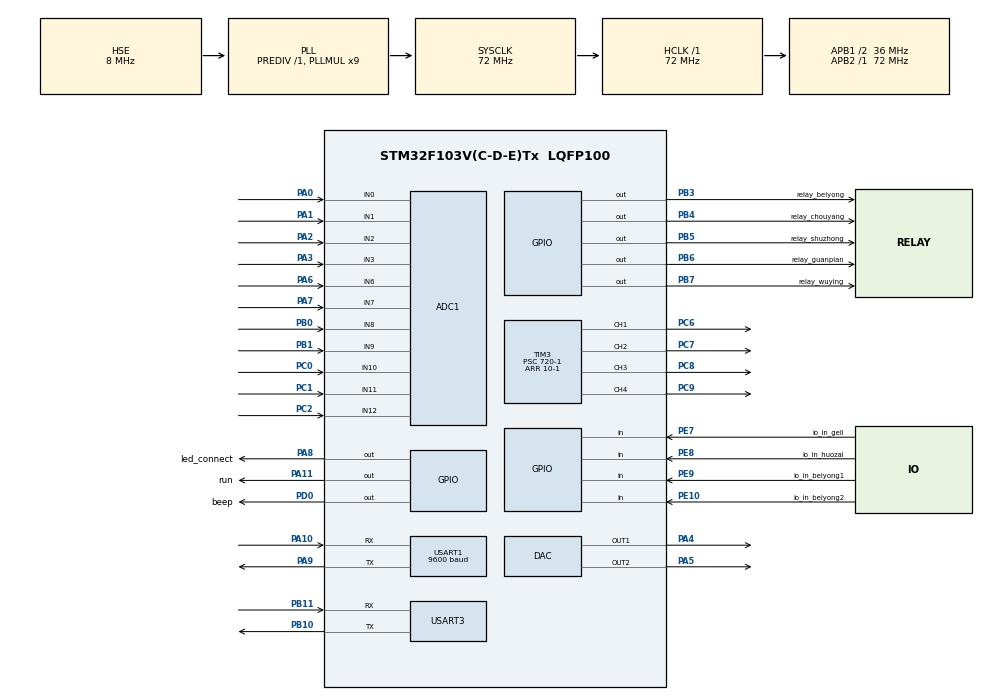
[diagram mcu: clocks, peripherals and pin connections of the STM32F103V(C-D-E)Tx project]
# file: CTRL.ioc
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ADC1.Channel-0\#ChannelRegularConversion=ADC_CHANNEL_0
ADC1.Channel-1\#ChannelRegularConversion=ADC_CHANNEL_1
ADC1.Channel-10\#ChannelRegularConversion=ADC_CHANNEL_12
ADC1.Channel-2\#ChannelRegularConversion=ADC_CHANNEL_2
ADC1.Channel-3\#ChannelRegularConversion=ADC_CHANNEL_3
ADC1.Channel-4\#ChannelRegularConversion=ADC_CHANNEL_6
ADC1.Channel-5\#ChannelRegularConversion=ADC_CHANNEL_7
ADC1.Channel-6\#ChannelRegularConversion=ADC_CHANNEL_8
ADC1.Channel-7\#ChannelRegularConversion=ADC_CHANNEL_9
ADC1.Channel-8\#ChannelRegularConversion=ADC_CHANNEL_10
ADC1.Channel-9\#ChannelRegularConversion=ADC_CHANNEL_11
ADC1.ContinuousConvMode=ENABLE
ADC1.NbrOfConversion=11
ADC1.NbrOfConversionFlag=1
ADC1.Rank-0\#ChannelRegularConversion=1
ADC1.Rank-1\#ChannelRegularConversion=2
ADC1.Rank-10\#ChannelRegularConversion=11
ADC1.Rank-2\#ChannelRegularConversion=3
ADC1.Rank-3\#ChannelRegularConversion=4
ADC1.Rank-4\#ChannelRegularConversion=5
ADC1.Rank-5\#ChannelRegularConversion=6
ADC1.Rank-6\#ChannelRegularConversion=7
ADC1.Rank-7\#ChannelRegularConversion=8
ADC1.Rank-8\#ChannelRegularConversion=9
ADC1.Rank-9\#ChannelRegularConversion=10
ADC1.SamplingTime-0\#ChannelRegularConversion=ADC_SAMPLETIME_55CYCLES_5
ADC1.SamplingTime-1\#ChannelRegularConversion=ADC_SAMPLETIME_55CYCLES_5
ADC1.SamplingTime-10\#ChannelRegularConversion=ADC_SAMPLETIME_55CYCLES_5
ADC1.SamplingTime-2\#ChannelRegularConversion=ADC_SAMPLETIME_55CYCLES_5
ADC1.SamplingTime-3\#ChannelRegularConversion=ADC_SAMPLETIME_55CYCLES_5
ADC1.SamplingTime-4\#ChannelRegularConversion=ADC_SAMPLETIME_55CYCLES_5
ADC1.SamplingTime-5\#ChannelRegularConversion=ADC_SAMPLETIME_55CYCLES_5
ADC1.SamplingTime-6\#ChannelRegularConversion=ADC_SAMPLETIME_55CYCLES_5
ADC1.SamplingTime-7\#ChannelRegularConversion=ADC_SAMPLETIME_55CYCLES_5
ADC1.SamplingTime-8\#ChannelRegularConversion=ADC_SAMPLETIME_55CYCLES_5
ADC1.SamplingTime-9\#ChannelRegularConversion=ADC_SAMPLETIME_55CYCLES_5
ADC1.master=1
DAC.DAC_OutputBuffer=DAC_OUTPUTBUFFER_DISABLE
Dma.ADC1.0.Direction=DMA_PERIPH_TO_MEMORY
Dma.ADC1.0.Instance=DMA1_Channel1
Dma.ADC1.0.MemDataAlignment=DMA_MDATAALIGN_HALFWORD
Dma.ADC1.0.MemInc=DMA_MINC_ENABLE
Dma.ADC1.0.Mode=DMA_CIRCULAR
Dma.ADC1.0.PeriphDataAlignment=DMA_PDATAALIGN_HALFWORD
Dma.ADC1.0.PeriphInc=DMA_PINC_DISABLE
Dma.ADC1.0.Priority=DMA_PRIORITY_LOW
Dma.Request0=ADC1
Dma.Request1=USART1_RX
Dma.Request2=USART1_TX
Dma.USART1_RX.1.Direction=DMA_PERIPH_TO_MEMORY
Dma.USART1_RX.1.Instance=DMA1_Channel5
Dma.USART1_RX.1.MemDataAlignment=DMA_MDATAALIGN_BYTE
Dma.USART1_RX.1.MemInc=DMA_MINC_ENABLE
Dma.USART1_RX.1.Mode=DMA_NORMAL
Dma.USART1_RX.1.PeriphDataAlignment=DMA_PDATAALIGN_BYTE
Dma.USART1_RX.1.PeriphInc=DMA_PINC_DISABLE
Dma.USART1_RX.1.Priority=DMA_PRIORITY_LOW
Dma.USART1_TX.2.Direction=DMA_MEMORY_TO_PERIPH
Dma.USART1_TX.2.Instance=DMA1_Channel4
Dma.USART1_TX.2.MemDataAlignment=DMA_MDATAALIGN_BYTE
Dma.USART1_TX.2.MemInc=DMA_MINC_ENABLE
Dma.USART1_TX.2.Mode=DMA_NORMAL
Dma.USART1_TX.2.PeriphDataAlignment=DMA_PDATAALIGN_BYTE
Dma.USART1_TX.2.PeriphInc=DMA_PINC_DISABLE
Dma.USART1_TX.2.Priority=DMA_PRIORITY_LOW
Mcu.Family=STM32F1
Mcu.Name=STM32F103V(C-D-E)Tx
Mcu.Package=LQFP100
NVIC.DMA1_Channel1_IRQn=true\:0\:0\:false\:false\:true\:false
NVIC.DMA1_Channel4_IRQn=true\:0\:0\:false\:false\:true\:false
NVIC.DMA1_Channel5_IRQn=true\:0\:0\:false\:false\:true\:false
NVIC.PriorityGroup=NVIC_PRIORITYGROUP_4
NVIC.TIM4_IRQn=true\:0\:0\:false\:false\:true\:true
NVIC.USART1_IRQn=true\:0\:0\:false\:false\:true\:true
OSC_IN.Mode=HSE-External-Oscillator
OSC_IN.Signal=RCC_OSC_IN
OSC_OUT.Mode=HSE-External-Oscillator
OSC_OUT.Signal=RCC_OSC_OUT
PA0-WKUP.Signal=ADCx_IN0
PA1.Signal=ADCx_IN1
PA10.Mode=Asynchronous
PA10.Signal=USART1_RX
PA11.GPIO_Label=run
PA11.PinState=GPIO_PIN_SET
PA11.Signal=GPIO_Output
PA13.Mode=Serial_Wire
PA13.Signal=SYS_JTMS-SWDIO
PA14.Mode=Serial_Wire
PA14.Signal=SYS_JTCK-SWCLK
PA2.Signal=ADCx_IN2
PA3.Signal=ADCx_IN3
PA4.Signal=COMP_DAC1_group
PA5.Signal=COMP_DAC2_group
PA6.Signal=ADCx_IN6
PA7.Signal=ADCx_IN7
PA8.GPIO_Label=led_connect
PA8.Signal=GPIO_Output
PA9.Mode=Asynchronous
PA9.Signal=USART1_TX
PB0.Signal=ADCx_IN8
PB1.Signal=ADCx_IN9
PB10.Mode=Asynchronous
PB10.Signal=USART3_TX
PB11.Mode=Asynchronous
PB11.Signal=USART3_RX
PB3.GPIO_Label=relay_beiyong
PB3.PinState=GPIO_PIN_RESET
PB3.Signal=GPIO_Output
PB4.GPIO_Label=relay_chouyang
PB4.PinState=GPIO_PIN_RESET
PB4.Signal=GPIO_Output
PB5.GPIO_Label=relay_shuzhong
PB5.PinState=GPIO_PIN_RESET
PB5.Signal=GPIO_Output
PB6.GPIO_Label=relay_guanpian
PB6.PinState=GPIO_PIN_RESET
PB6.Signal=GPIO_Output
PB7.GPIO_Label=relay_wuying
PB7.PinState=GPIO_PIN_RESET
PB7.Signal=GPIO_Output
PC0.Signal=ADCx_IN10
PC1.Signal=ADCx_IN11
PC2.Signal=ADCx_IN12
PC6.GPIO_Speed=GPIO_SPEED_FREQ_HIGH
PC6.Signal=S_TIM3_CH1
PC7.GPIO_Speed=GPIO_SPEED_FREQ_HIGH
PC7.Signal=S_TIM3_CH2
PC8.GPIO_Speed=GPIO_SPEED_FREQ_HIGH
PC8.Signal=S_TIM3_CH3
PC9.GPIO_Speed=GPIO_SPEED_FREQ_HIGH
PC9.Signal=S_TIM3_CH4
PD0.GPIO_Label=beep
PD0.Signal=GPIO_Output
PE10.GPIO_Label=io_in_beiyong2
PE10.GPIO_PuPd=GPIO_PULLUP
PE10.Signal=GPIO_Input
PE7.GPIO_Label=io_in_geli
PE7.GPIO_PuPd=GPIO_PULLUP
PE7.Signal=GPIO_Input
PE8.GPIO_Label=io_in_huozai
PE8.GPIO_PuPd=GPIO_PULLUP
PE8.Signal=GPIO_Input
PE9.GPIO_Label=io_in_beiyong1
PE9.GPIO_PuPd=GPIO_PULLUP
PE9.Signal=GPIO_Input
ProjectManager.HeapSize=0x200
ProjectManager.StackSize=0x400
ProjectManager.TargetToolchain=MDK-ARM V5
RCC.ADCPresc=RCC_ADCPCLK2_DIV6
RCC.AHBFreq_Value=72000000
RCC.APB1CLKDivider=RCC_HCLK_DIV2
RCC.APB1Freq_Value=36000000
RCC.APB1TimFreq_Value=72000000
RCC.APB2Freq_Value=72000000
RCC.APB2TimFreq_Value=72000000
RCC.HCLKFreq_Value=72000000
RCC.PLLMUL=RCC_PLL_MUL9
RCC.PLLSourceVirtual=RCC_PLLSOURCE_HSE
RCC.SYSCLKFreq_VALUE=72000000
RCC.SYSCLKSource=RCC_SYSCLKSOURCE_PLLCLK
RCC.USBFreq_Value=72000000
SH.ADCx_IN0.0=ADC1_IN0,IN0
SH.ADCx_IN1.0=ADC1_IN1,IN1
SH.ADCx_IN10.0=ADC1_IN10,IN10
SH.ADCx_IN11.0=ADC1_IN11,IN11
SH.ADCx_IN12.0=ADC1_IN12,IN12
SH.ADCx_IN2.0=ADC1_IN2,IN2
SH.ADCx_IN3.0=ADC1_IN3,IN3
SH.ADCx_IN6.0=ADC1_IN6,IN6
SH.ADCx_IN7.0=ADC1_IN7,IN7
SH.ADCx_IN8.0=ADC1_IN8,IN8
SH.ADCx_IN9.0=ADC1_IN9,IN9
SH.COMP_DAC1_group.0=DAC_OUT1,DAC_OUT1
SH.COMP_DAC2_group.0=DAC_OUT2,DAC_OUT2
SH.S_TIM3_CH1.0=TIM3_CH1,PWM Generation1 CH1
SH.S_TIM3_CH2.0=TIM3_CH2,PWM Generation2 CH2
SH.S_TIM3_CH3.0=TIM3_CH3,PWM Generation3 CH3
SH.S_TIM3_CH4.0=TIM3_CH4,PWM Generation4 CH4
TIM3.Channel-PWM\ Generation1\ CH1=TIM_CHANNEL_1
TIM3.Channel-PWM\ Generation2\ CH2=TIM_CHANNEL_2
TIM3.Channel-PWM\ Generation3\ CH3=TIM_CHANNEL_3
TIM3.Channel-PWM\ Generation4\ CH4=TIM_CHANNEL_4
TIM3.Period=10-1
TIM3.Prescaler=720-1
TIM3.Pulse-PWM\ Generation1\ CH1=9
TIM3.Pulse-PWM\ Generation2\ CH2=9
TIM3.Pulse-PWM\ Generation3\ CH3=9
TIM3.Pulse-PWM\ Generation4\ CH4=9
TIM4.Period=100-1
TIM4.Prescaler=7200-1
USART1.BaudRate=9600
USART1.VirtualMode=VM_ASYNC
USART3.VirtualMode=VM_ASYNC
VP_IWDG_VS_IWDG.Mode=IWDG_Activate
VP_TIM3_VS_ClockSourceINT.Mode=Internal
VP_TIM4_VS_ClockSourceINT.Mode=Internal
board=CTRL

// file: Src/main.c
/**
  ******************************************************************************
  * @file           : main.c
  * @brief          : Main program body
  ******************************************************************************
  ** This notice applies to any and all portions of this file
  * that are not between comment pairs USER CODE BEGIN and
  * USER CODE END. Other portions of this file, whether
  * inserted by the user or by software development tools
  * are owned by their respective copyright owners.
  *
  * COPYRIGHT(c) 2018 STMicroelectronics
  *
  * Redistribution and use in source and binary forms, with or without modification,
  * are permitted provided that the following conditions are met:
  *   1. Redistributions of source code must retain the above copyright notice,
  *      this list of conditions and the following disclaimer.
  *   2. Redistributions in binary form must reproduce the above copyright notice,
  *      this list of conditions and the following disclaimer in the documentation
  *      and/or other materials provided with the distribution.
  *   3. Neither the name of STMicroelectronics nor the names of its contributors
  *      may be used to endorse or promote products derived from this software
  *      without specific prior written permission.
  *
  * THIS SOFTWARE IS PROVIDED BY THE COPYRIGHT HOLDERS AND CONTRIBUTORS "AS IS"
  * AND ANY EXPRESS OR IMPLIED WARRANTIES, INCLUDING, BUT NOT LIMITED TO, THE
  * IMPLIED WARRANTIES OF MERCHANTABILITY AND FITNESS FOR A PARTICULAR PURPOSE ARE
  * DISCLAIMED. IN NO EVENT SHALL THE COPYRIGHT HOLDER OR CONTRIBUTORS BE LIABLE
  * FOR ANY DIRECT, INDIRECT, INCIDENTAL, SPECIAL, EXEMPLARY, OR CONSEQUENTIAL
  * DAMAGES (INCLUDING, BUT NOT LIMITED TO, PROCUREMENT OF SUBSTITUTE GOODS OR
  * SERVICES; LOSS OF USE, DATA, OR PROFITS; OR BUSINESS INTERRUPTION) HOWEVER
  * CAUSED AND ON ANY THEORY OF LIABILITY, WHETHER IN CONTRACT, STRICT LIABILITY,
  * OR TORT (INCLUDING NEGLIGENCE OR OTHERWISE) ARISING IN ANY WAY OUT OF THE USE
  * OF THIS SOFTWARE, EVEN IF ADVISED OF THE POSSIBILITY OF SUCH DAMAGE.
  *
  ******************************************************************************
  */
#include "main.h"
#include "stm32f1xx_hal.h"
#include "adc.h"
#include "dac.h"
#include "dma.h"
#include "iwdg.h"
#include "tim.h"
#include "usart.h"
#include "gpio.h"

/* USER CODE BEGIN Includes */
#include "modbusSlave.h"
#include "dataProcessing.h"
/* USER CODE END Includes */

/* USER CODE BEGIN PV */
/* Private variables ---------------------------------------------------------*/

/* USER CODE END PV */

void SystemClock_Config(void);

/* USER CODE BEGIN PFP */
/* Private function prototypes -----------------------------------------------*/

/* USER CODE END PFP */

int main(void)
{

  /* MCU Configuration----------------------------------------------------------*/

  /* Reset of all peripherals, Initializes the Flash interface and the Systick. */
  HAL_Init();

  /* Configure the system clock */
  SystemClock_Config();

  /* Initialize all configured peripherals */
  MX_GPIO_Init();
  MX_DMA_Init();
  MX_ADC1_Init();
  MX_USART1_UART_Init();
  MX_DAC_Init();
  MX_IWDG_Init();
  MX_TIM3_Init();
  MX_TIM4_Init();
  MX_USART3_UART_Init();
  /* USER CODE BEGIN 2 */
  __HAL_UART_ENABLE_IT(&huart1, UART_IT_IDLE);    //使能空闲中断

  HAL_ADCEx_Calibration_Start(&hadc1);
  HAL_ADC_Start_DMA(&hadc1, (uint32_t *)ADC_ConvertedValue, 11);
  HAL_DAC_Start(&hdac, DAC_CHANNEL_1);
  HAL_DAC_Start(&hdac, DAC_CHANNEL_2);

  HAL_TIM_Base_Start_IT(&htim4);
  HAL_TIM_PWM_Start(&htim3, TIM_CHANNEL_1);
  HAL_TIM_PWM_Start(&htim3, TIM_CHANNEL_2);
  HAL_TIM_PWM_Start(&htim3, TIM_CHANNEL_3);
  HAL_TIM_PWM_Start(&htim3, TIM_CHANNEL_4);

  /* USER CODE END 2 */

  /* Infinite loop */
  while (1)
  {

  /* USER CODE BEGIN 3 */
	  modbusPoll();
	  dataProcessing();
  }
  /* USER CODE END 3 */

}

void SystemClock_Config(void)
{

  RCC_OscInitTypeDef RCC_OscInitStruct;
  RCC_ClkInitTypeDef RCC_ClkInitStruct;
  RCC_PeriphCLKInitTypeDef PeriphClkInit;

    /**Initializes the CPU, AHB and APB busses clocks
    */
  RCC_OscInitStruct.OscillatorType = RCC_OSCILLATORTYPE_LSI|RCC_OSCILLATORTYPE_HSE;
  RCC_OscInitStruct.HSEState = RCC_HSE_ON;
  RCC_OscInitStruct.HSEPredivValue = RCC_HSE_PREDIV_DIV1;
  RCC_OscInitStruct.HSIState = RCC_HSI_ON;
  RCC_OscInitStruct.LSIState = RCC_LSI_ON;
  RCC_OscInitStruct.PLL.PLLState = RCC_PLL_ON;
  RCC_OscInitStruct.PLL.PLLSource = RCC_PLLSOURCE_HSE;
  RCC_OscInitStruct.PLL.PLLMUL = RCC_PLL_MUL9;
  if (HAL_RCC_OscConfig(&RCC_OscInitStruct) != HAL_OK)
  {
    _Error_Handler(__FILE__, __LINE__);
  }

    /**Initializes the CPU, AHB and APB busses clocks
    */
  RCC_ClkInitStruct.ClockType = RCC_CLOCKTYPE_HCLK|RCC_CLOCKTYPE_SYSCLK
                              |RCC_CLOCKTYPE_PCLK1|RCC_CLOCKTYPE_PCLK2;
  RCC_ClkInitStruct.SYSCLKSource = RCC_SYSCLKSOURCE_PLLCLK;
  RCC_ClkInitStruct.AHBCLKDivider = RCC_SYSCLK_DIV1;
  RCC_ClkInitStruct.APB1CLKDivider = RCC_HCLK_DIV2;
  RCC_ClkInitStruct.APB2CLKDivider = RCC_HCLK_DIV1;

  if (HAL_RCC_ClockConfig(&RCC_ClkInitStruct, FLASH_LATENCY_2) != HAL_OK)
  {
    _Error_Handler(__FILE__, __LINE__);
  }

  PeriphClkInit.PeriphClockSelection = RCC_PERIPHCLK_ADC;
  PeriphClkInit.AdcClockSelection = RCC_ADCPCLK2_DIV6;
  if (HAL_RCCEx_PeriphCLKConfig(&PeriphClkInit) != HAL_OK)
  {
    _Error_Handler(__FILE__, __LINE__);
  }

    /**Configure the Systick interrupt time
    */
  HAL_SYSTICK_Config(HAL_RCC_GetHCLKFreq()/1000);

    /**Configure the Systick
    */
  HAL_SYSTICK_CLKSourceConfig(SYSTICK_CLKSOURCE_HCLK);

  /* SysTick_IRQn interrupt configuration */
  HAL_NVIC_SetPriority(SysTick_IRQn, 0, 0);
}

/* USER CODE BEGIN 4 */
void HAL_TIM_PeriodElapsedCallback(TIM_HandleTypeDef *htim)
{
	if (htim == &htim4)
	{

		HAL_IWDG_Refresh(&hiwdg);

	}
}
/* USER CODE END 4 */

void _Error_Handler(char *file, int line)
{
  while(1)
  {
  }
}

/************************ (C) COPYRIGHT STMicroelectronics *****END OF FILE****/
